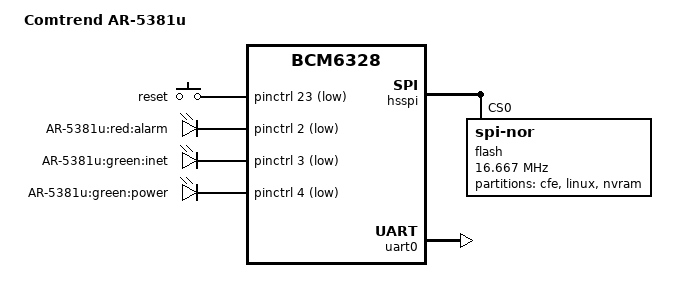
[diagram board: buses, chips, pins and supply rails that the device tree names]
/dts-v1/;

#include "bcm6328.dtsi"

#include <dt-bindings/input/input.h>

/ {
	model = "Comtrend AR-5381u";
	compatible = "comtrend,ar-5381u", "brcm,bcm6328";

	chosen {
		bootargs = "rootfstype=squashfs,jffs2 noinitrd console=ttyS0,115200";
		stdout-path = "serial0:115200n8";
	};

	keys {
		compatible = "gpio-keys-polled";
		#address-cells = <1>;
		#size-cells = <0>;
		poll-interval = <20>;

		reset {
			label = "reset";
			gpios = <&pinctrl 23 1>;
			linux,code = <KEY_RESTART>;
			debounce-interval = <60>;
		};
	};

	leds {
		compatible = "gpio-leds";

		alarm_red {
			label = "AR-5381u:red:alarm";
			gpios = <&pinctrl 2 1>;
		};
		inet_green {
			label = "AR-5381u:green:inet";
			gpios = <&pinctrl 3 1>;
		};
		power_green {
			label = "AR-5381u:green:power";
			gpios = <&pinctrl 4 1>;
			default-state = "on";
		};
	};
};

&hsspi {
	status = "ok";

	flash@0 {
		compatible = "jedec,spi-nor";
		spi-max-frequency = <16666667>;
		spi-tx-bus-width = <2>;
		spi-rx-bus-width = <2>;
		reg = <0>;

		#address-cells = <1>;
		#size-cells = <1>;

		partitions {
			compatible = "fixed-partitions";
			#address-cells = <1>;
			#size-cells = <1>;

			cfe@0 {
				reg = <0x000000 0x010000>;
				label = "cfe";
				read-only;
			};

			linux@10000 {
				reg = <0x010000 0xfe0000>;
				label = "linux";
				compatible = "brcm,bcm963xx-imagetag";
			};

			nvram@ff0000 {
				reg = <0xff0000 0x010000>;
				label = "nvram";
			};
		};
	};
};

&uart0 {
	status = "ok";
};
